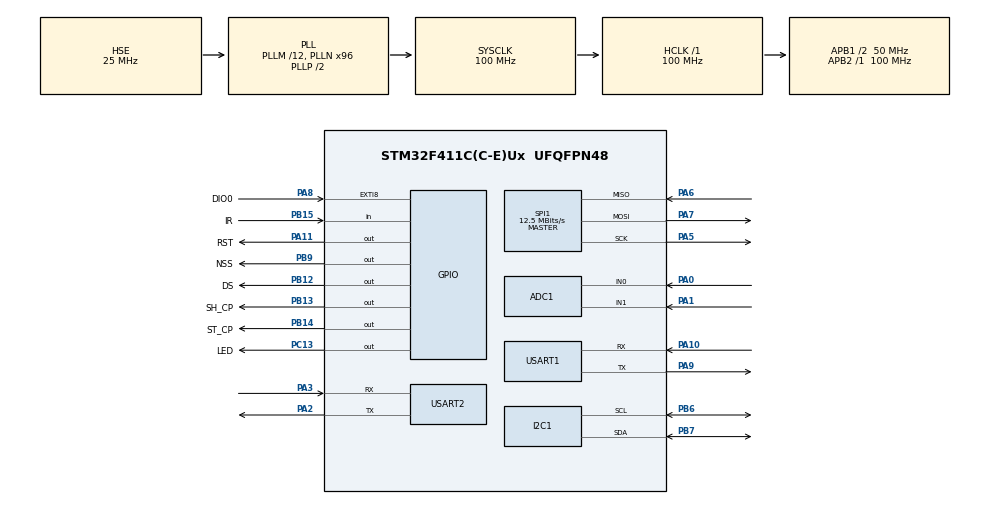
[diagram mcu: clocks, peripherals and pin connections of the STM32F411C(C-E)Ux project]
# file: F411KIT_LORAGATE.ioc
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ADC1.Channel-0\#ChannelRegularConversion=ADC_CHANNEL_0
ADC1.Channel-1\#ChannelRegularConversion=ADC_CHANNEL_0
ADC1.ContinuousConvMode=ENABLE
ADC1.DMAContinuousRequests=ENABLE
ADC1.NbrOfConversion=2
ADC1.NbrOfConversionFlag=1
ADC1.Rank-0\#ChannelRegularConversion=1
ADC1.Rank-1\#ChannelRegularConversion=2
ADC1.SamplingTime-0\#ChannelRegularConversion=ADC_SAMPLETIME_144CYCLES
ADC1.SamplingTime-1\#ChannelRegularConversion=ADC_SAMPLETIME_144CYCLES
ADC1.ScanConvMode=ENABLE
ADC1.master=1
Dma.ADC1.0.Direction=DMA_PERIPH_TO_MEMORY
Dma.ADC1.0.FIFOMode=DMA_FIFOMODE_DISABLE
Dma.ADC1.0.Instance=DMA2_Stream0
Dma.ADC1.0.MemDataAlignment=DMA_MDATAALIGN_HALFWORD
Dma.ADC1.0.MemInc=DMA_MINC_ENABLE
Dma.ADC1.0.Mode=DMA_CIRCULAR
Dma.ADC1.0.PeriphDataAlignment=DMA_PDATAALIGN_HALFWORD
Dma.ADC1.0.PeriphInc=DMA_PINC_DISABLE
Dma.ADC1.0.Priority=DMA_PRIORITY_LOW
Dma.Request0=ADC1
Dma.Request1=USART1_TX
Dma.Request2=USART2_TX
Dma.USART1_TX.1.Direction=DMA_MEMORY_TO_PERIPH
Dma.USART1_TX.1.FIFOMode=DMA_FIFOMODE_DISABLE
Dma.USART1_TX.1.Instance=DMA2_Stream7
Dma.USART1_TX.1.MemDataAlignment=DMA_MDATAALIGN_BYTE
Dma.USART1_TX.1.MemInc=DMA_MINC_ENABLE
Dma.USART1_TX.1.Mode=DMA_NORMAL
Dma.USART1_TX.1.PeriphDataAlignment=DMA_PDATAALIGN_BYTE
Dma.USART1_TX.1.PeriphInc=DMA_PINC_DISABLE
Dma.USART1_TX.1.Priority=DMA_PRIORITY_LOW
Dma.USART2_TX.2.Direction=DMA_MEMORY_TO_PERIPH
Dma.USART2_TX.2.FIFOMode=DMA_FIFOMODE_DISABLE
Dma.USART2_TX.2.Instance=DMA1_Stream6
Dma.USART2_TX.2.MemDataAlignment=DMA_MDATAALIGN_BYTE
Dma.USART2_TX.2.MemInc=DMA_MINC_ENABLE
Dma.USART2_TX.2.Mode=DMA_NORMAL
Dma.USART2_TX.2.PeriphDataAlignment=DMA_PDATAALIGN_BYTE
Dma.USART2_TX.2.PeriphInc=DMA_PINC_DISABLE
Dma.USART2_TX.2.Priority=DMA_PRIORITY_LOW
FREERTOS.Tasks01=defaultTask,0,128,StartDefaultTask,Default,NULL,Dynamic,NULL,NULL
Mcu.Family=STM32F4
Mcu.Name=STM32F411C(C-E)Ux
Mcu.Package=UFQFPN48
NVIC.DMA1_Stream6_IRQn=true\:5\:0\:false\:false\:true\:true\:false\:true\:true
NVIC.DMA2_Stream0_IRQn=true\:5\:0\:false\:false\:true\:true\:false\:true\:true
NVIC.DMA2_Stream7_IRQn=true\:5\:0\:false\:false\:true\:true\:false\:true\:true
NVIC.EXTI9_5_IRQn=true\:5\:0\:false\:false\:true\:false\:true\:true\:true
NVIC.PriorityGroup=NVIC_PRIORITYGROUP_4
NVIC.TIM1_UP_TIM10_IRQn=true\:5\:0\:false\:false\:true\:true\:true\:true\:true
NVIC.TIM2_IRQn=true\:15\:0\:false\:false\:true\:false\:false\:true\:true
NVIC.TimeBase=TIM2_IRQn
NVIC.TimeBaseIP=TIM2
NVIC.USART1_IRQn=true\:5\:0\:false\:false\:true\:true\:true\:true\:true
NVIC.USART2_IRQn=true\:5\:0\:false\:false\:true\:true\:true\:true\:true
PA0-WKUP.Signal=ADCx_IN0
PA1.Signal=ADCx_IN1
PA10.Mode=Asynchronous
PA10.Signal=USART1_RX
PA11.GPIO_Label=RST
PA11.GPIO_PuPd=GPIO_NOPULL
PA11.PinState=GPIO_PIN_SET
PA11.Signal=GPIO_Output
PA13.Mode=Serial_Wire
PA13.Signal=SYS_JTMS-SWDIO
PA14.Mode=Serial_Wire
PA14.Signal=SYS_JTCK-SWCLK
PA2.Mode=Asynchronous
PA2.Signal=USART2_TX
PA3.Mode=Asynchronous
PA3.Signal=USART2_RX
PA5.Mode=Full_Duplex_Master
PA5.Signal=SPI1_SCK
PA6.Mode=Full_Duplex_Master
PA6.Signal=SPI1_MISO
PA7.Mode=Full_Duplex_Master
PA7.Signal=SPI1_MOSI
PA8.GPIO_Label=DIO0
PA8.Signal=GPXTI8
PA9.Mode=Asynchronous
PA9.Signal=USART1_TX
PB12.GPIO_Label=DS
PB12.Signal=GPIO_Output
PB13.GPIO_Label=SH_CP
PB13.Signal=GPIO_Output
PB14.GPIO_Label=ST_CP
PB14.Signal=GPIO_Output
PB15.GPIO_Label=IR
PB15.Signal=GPIO_Input
PB6.Mode=I2C
PB6.Signal=I2C1_SCL
PB7.Mode=I2C
PB7.Signal=I2C1_SDA
PB9.GPIO_Label=NSS
PB9.PinState=GPIO_PIN_SET
PB9.Signal=GPIO_Output
PC13-ANTI_TAMP.GPIO_Label=LED
PC13-ANTI_TAMP.Signal=GPIO_Output
PH0\ -\ OSC_IN.Mode=HSE-External-Oscillator
PH0\ -\ OSC_IN.Signal=RCC_OSC_IN
PH1\ -\ OSC_OUT.Mode=HSE-External-Oscillator
PH1\ -\ OSC_OUT.Signal=RCC_OSC_OUT
ProjectManager.HeapSize=0x200
ProjectManager.StackSize=0x400
ProjectManager.TargetToolchain=MDK-ARM V5.32
RCC.48MHZClocksFreq_Value=50000000
RCC.AHBFreq_Value=100000000
RCC.APB1CLKDivider=RCC_HCLK_DIV2
RCC.APB1Freq_Value=50000000
RCC.APB1TimFreq_Value=100000000
RCC.APB2Freq_Value=100000000
RCC.APB2TimFreq_Value=100000000
RCC.CortexFreq_Value=100000000
RCC.HCLKFreq_Value=100000000
RCC.HSE_VALUE=25000000
RCC.HSI_VALUE=16000000
RCC.LSE_VALUE=32768
RCC.PLLM=12
RCC.PLLN=96
RCC.PLLSourceVirtual=RCC_PLLSOURCE_HSE
RCC.SYSCLKFreq_VALUE=100000000
RCC.SYSCLKSource=RCC_SYSCLKSOURCE_PLLCLK
RCC.VCOOutputFreq_Value=200000000
SH.ADCx_IN0.0=ADC1_IN0,IN0
SH.ADCx_IN1.0=ADC1_IN1,IN1
SPI1.BaudRatePrescaler=SPI_BAUDRATEPRESCALER_8
SPI1.CalculateBaudRate=12.5 MBits/s
SPI1.Direction=SPI_DIRECTION_2LINES
SPI1.Mode=SPI_MODE_MASTER
SPI1.VirtualType=VM_MASTER
TIM1.AutoReloadPreload=TIM_AUTORELOAD_PRELOAD_ENABLE
TIM1.Period=999
TIM1.Prescaler=9999
USART1.VirtualMode=VM_ASYNC
USART2.VirtualMode=VM_ASYNC
VP_FREERTOS_VS_CMSIS_V1.Mode=CMSIS_V1
VP_RTC_VS_RTC_Activate.Mode=RTC_Enabled
VP_RTC_VS_RTC_Calendar.Mode=RTC_Calendar
VP_SYS_VS_tim2.Mode=TIM2
VP_TIM1_VS_ClockSourceINT.Mode=Internal
board=custom

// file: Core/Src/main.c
/* USER CODE BEGIN Header */
/**
  ******************************************************************************
  * @file           : main.c
  * @brief          : Main program body
  ******************************************************************************
  * @attention
  *
  * Copyright (c) 2025 STMicroelectronics.
  * All rights reserved.
  *
  * This software is licensed under terms that can be found in the LICENSE file
  * in the root directory of this software component.
  * If no LICENSE file comes with this software, it is provided AS-IS.
  *
  ******************************************************************************
  */
/* USER CODE END Header */
#include "main.h"
#include "cmsis_os.h"

/* USER CODE BEGIN Includes */

uint8_t lora_flag=0;

/* USER CODE END Includes */

ADC_HandleTypeDef hadc1;
DMA_HandleTypeDef hdma_adc1;

I2C_HandleTypeDef hi2c1;

RTC_HandleTypeDef hrtc;

SPI_HandleTypeDef hspi1;

TIM_HandleTypeDef htim1;

UART_HandleTypeDef huart1;
UART_HandleTypeDef huart2;
DMA_HandleTypeDef hdma_usart1_tx;
DMA_HandleTypeDef hdma_usart2_tx;

osThreadId defaultTaskHandle;

void SystemClock_Config(void);
static void MX_GPIO_Init(void);
static void MX_DMA_Init(void);
static void MX_ADC1_Init(void);
static void MX_SPI1_Init(void);
static void MX_USART1_UART_Init(void);
static void MX_I2C1_Init(void);
static void MX_RTC_Init(void);
static void MX_TIM1_Init(void);
static void MX_USART2_UART_Init(void);
void StartDefaultTask(void const * argument);

/* USER CODE BEGIN 0 */

RTC_TimeTypeDef sTime;
RTC_DateTypeDef sDate;
SemaphoreHandle_t lora_semaphore=NULL;

/* USER CODE END 0 */

int main(void)
{
  /* USER CODE BEGIN 1 */

	SCB->CPACR|=(0XF<<20);
	__DSB();
	__ISB();
	lora_semaphore=xSemaphoreCreateBinary();
	uart2Queue = xQueueCreate(10, sizeof(relay_cmd_t));
	relayQueue = xQueueCreate(10, sizeof(relay_cmd_t));

  /* USER CODE END 1 */

  /* MCU Configuration--------------------------------------------------------*/

  /* Reset of all peripherals, Initializes the Flash interface and the Systick. */
  HAL_Init();

  /* Configure the system clock */
  SystemClock_Config();

  /* Initialize all configured peripherals */
  MX_GPIO_Init();
  MX_DMA_Init();
  MX_ADC1_Init();
  MX_SPI1_Init();
  MX_USART1_UART_Init();
  MX_I2C1_Init();
  MX_RTC_Init();
  MX_TIM1_Init();
  MX_USART2_UART_Init();
	HAL_UART_Receive_IT(&huart2, &uart2_rx_byte, 1);

  /* USER CODE BEGIN 2 */
	xTaskCreate(TaskMaster,"TaskMaster",512,NULL,1,NULL);
	//xTaskCreate(TaskReceiveLora,"TaskReceiveLora",256,NULL,1,NULL);
	xTaskCreate(TaskHienThi,"TaskHienThi",128,NULL,1,NULL);
	xTaskCreate(TaskHieuUngLed,"TaskHieuUngLed",128,NULL,1,NULL);
	xTaskCreate(TaskRelay,"TaskRelay",128,NULL,1,NULL);
	//xTaskCreate(TaskSendLora,"TaskSendLora",256,NULL,1,NULL	);
	xTaskCreate(TaskData,"TaskData",512,NULL,1,NULL);
	//xTaskCreate(TaskControlRelay,"TaskControlRelay",256,NULL,1,NULL);
	 xTaskCreate(TaskRelayUART, "RelayUARTTask", 256, NULL, 1, NULL);
	vTaskStartScheduler();

  /* USER CODE END 2 */

  /* Create the thread(s) */
  /* definition and creation of defaultTask */
  osThreadDef(defaultTask, StartDefaultTask, osPriorityNormal, 0, 128);
  defaultTaskHandle = osThreadCreate(osThread(defaultTask), NULL);

  /* Start scheduler */
  osKernelStart();

  /* We should never get here as control is now taken by the scheduler */
  /* Infinite loop */
  while (1)
  {

  }
}

void SystemClock_Config(void)
{
  RCC_OscInitTypeDef RCC_OscInitStruct = {0};
  RCC_ClkInitTypeDef RCC_ClkInitStruct = {0};

  /** Configure the main internal regulator output voltage
  */
  __HAL_RCC_PWR_CLK_ENABLE();
  __HAL_PWR_VOLTAGESCALING_CONFIG(PWR_REGULATOR_VOLTAGE_SCALE1);

  /** Initializes the RCC Oscillators according to the specified parameters
  * in the RCC_OscInitTypeDef structure.
  */
  RCC_OscInitStruct.OscillatorType = RCC_OSCILLATORTYPE_LSI|RCC_OSCILLATORTYPE_HSE;
  RCC_OscInitStruct.HSEState = RCC_HSE_ON;
  RCC_OscInitStruct.LSIState = RCC_LSI_ON;
  RCC_OscInitStruct.PLL.PLLState = RCC_PLL_ON;
  RCC_OscInitStruct.PLL.PLLSource = RCC_PLLSOURCE_HSE;
  RCC_OscInitStruct.PLL.PLLM = 12;
  RCC_OscInitStruct.PLL.PLLN = 96;
  RCC_OscInitStruct.PLL.PLLP = RCC_PLLP_DIV2;
  RCC_OscInitStruct.PLL.PLLQ = 4;
  if (HAL_RCC_OscConfig(&RCC_OscInitStruct) != HAL_OK)
  {
    Error_Handler();
  }

  /** Initializes the CPU, AHB and APB buses clocks
  */
  RCC_ClkInitStruct.ClockType = RCC_CLOCKTYPE_HCLK|RCC_CLOCKTYPE_SYSCLK
                              |RCC_CLOCKTYPE_PCLK1|RCC_CLOCKTYPE_PCLK2;
  RCC_ClkInitStruct.SYSCLKSource = RCC_SYSCLKSOURCE_PLLCLK;
  RCC_ClkInitStruct.AHBCLKDivider = RCC_SYSCLK_DIV1;
  RCC_ClkInitStruct.APB1CLKDivider = RCC_HCLK_DIV2;
  RCC_ClkInitStruct.APB2CLKDivider = RCC_HCLK_DIV1;

  if (HAL_RCC_ClockConfig(&RCC_ClkInitStruct, FLASH_LATENCY_3) != HAL_OK)
  {
    Error_Handler();
  }
}

static void MX_ADC1_Init(void)
{

  ADC_ChannelConfTypeDef sConfig = {0};

  /** Configure the global features of the ADC (Clock, Resolution, Data Alignment and number of conversion)
  */
  hadc1.Instance = ADC1;
  hadc1.Init.ClockPrescaler = ADC_CLOCK_SYNC_PCLK_DIV4;
  hadc1.Init.Resolution = ADC_RESOLUTION_12B;
  hadc1.Init.ScanConvMode = ENABLE;
  hadc1.Init.ContinuousConvMode = ENABLE;
  hadc1.Init.DiscontinuousConvMode = DISABLE;
  hadc1.Init.ExternalTrigConvEdge = ADC_EXTERNALTRIGCONVEDGE_NONE;
  hadc1.Init.ExternalTrigConv = ADC_SOFTWARE_START;
  hadc1.Init.DataAlign = ADC_DATAALIGN_RIGHT;
  hadc1.Init.NbrOfConversion = 2;
  hadc1.Init.DMAContinuousRequests = ENABLE;
  hadc1.Init.EOCSelection = ADC_EOC_SINGLE_CONV;
  if (HAL_ADC_Init(&hadc1) != HAL_OK)
  {
    Error_Handler();
  }

  /** Configure for the selected ADC regular channel its corresponding rank in the sequencer and its sample time.
  */
  sConfig.Channel = ADC_CHANNEL_0;
  sConfig.Rank = 1;
  sConfig.SamplingTime = ADC_SAMPLETIME_144CYCLES;
  if (HAL_ADC_ConfigChannel(&hadc1, &sConfig) != HAL_OK)
  {
    Error_Handler();
  }

  /** Configure for the selected ADC regular channel its corresponding rank in the sequencer and its sample time.
  */
  sConfig.Rank = 2;
  if (HAL_ADC_ConfigChannel(&hadc1, &sConfig) != HAL_OK)
  {
    Error_Handler();
  }

}

static void MX_I2C1_Init(void)
{

  hi2c1.Instance = I2C1;
  hi2c1.Init.ClockSpeed = 100000;
  hi2c1.Init.DutyCycle = I2C_DUTYCYCLE_2;
  hi2c1.Init.OwnAddress1 = 0;
  hi2c1.Init.AddressingMode = I2C_ADDRESSINGMODE_7BIT;
  hi2c1.Init.DualAddressMode = I2C_DUALADDRESS_DISABLE;
  hi2c1.Init.OwnAddress2 = 0;
  hi2c1.Init.GeneralCallMode = I2C_GENERALCALL_DISABLE;
  hi2c1.Init.NoStretchMode = I2C_NOSTRETCH_DISABLE;
  if (HAL_I2C_Init(&hi2c1) != HAL_OK)
  {
    Error_Handler();
  }

}

static void MX_RTC_Init(void)
{

  RTC_TimeTypeDef sTime = {0};
  RTC_DateTypeDef sDate = {0};

  /** Initialize RTC Only
  */
  hrtc.Instance = RTC;
  hrtc.Init.HourFormat = RTC_HOURFORMAT_24;
  hrtc.Init.AsynchPrediv = 127;
  hrtc.Init.SynchPrediv = 255;
  hrtc.Init.OutPut = RTC_OUTPUT_DISABLE;
  hrtc.Init.OutPutPolarity = RTC_OUTPUT_POLARITY_HIGH;
  hrtc.Init.OutPutType = RTC_OUTPUT_TYPE_OPENDRAIN;
  if (HAL_RTC_Init(&hrtc) != HAL_OK)
  {
    Error_Handler();
  }

  /** Initialize RTC and set the Time and Date
  */
  sTime.Hours = 0x0;
  sTime.Minutes = 0x0;
  sTime.Seconds = 0x0;
  sTime.DayLightSaving = RTC_DAYLIGHTSAVING_NONE;
  sTime.StoreOperation = RTC_STOREOPERATION_RESET;
  if (HAL_RTC_SetTime(&hrtc, &sTime, RTC_FORMAT_BCD) != HAL_OK)
  {
    Error_Handler();
  }
  sDate.WeekDay = RTC_WEEKDAY_MONDAY;
  sDate.Month = RTC_MONTH_JANUARY;
  sDate.Date = 0x1;
  sDate.Year = 0x0;

  if (HAL_RTC_SetDate(&hrtc, &sDate, RTC_FORMAT_BCD) != HAL_OK)
  {
    Error_Handler();
  }

}

static void MX_SPI1_Init(void)
{

  /* SPI1 parameter configuration*/
  hspi1.Instance = SPI1;
  hspi1.Init.Mode = SPI_MODE_MASTER;
  hspi1.Init.Direction = SPI_DIRECTION_2LINES;
  hspi1.Init.DataSize = SPI_DATASIZE_8BIT;
  hspi1.Init.CLKPolarity = SPI_POLARITY_LOW;
  hspi1.Init.CLKPhase = SPI_PHASE_1EDGE;
  hspi1.Init.NSS = SPI_NSS_SOFT;
  hspi1.Init.BaudRatePrescaler = SPI_BAUDRATEPRESCALER_8;
  hspi1.Init.FirstBit = SPI_FIRSTBIT_MSB;
  hspi1.Init.TIMode = SPI_TIMODE_DISABLE;
  hspi1.Init.CRCCalculation = SPI_CRCCALCULATION_DISABLE;
  hspi1.Init.CRCPolynomial = 10;
  if (HAL_SPI_Init(&hspi1) != HAL_OK)
  {
    Error_Handler();
  }

}

static void MX_TIM1_Init(void)
{

  TIM_ClockConfigTypeDef sClockSourceConfig = {0};
  TIM_MasterConfigTypeDef sMasterConfig = {0};

  htim1.Instance = TIM1;
  htim1.Init.Prescaler = 9999;
  htim1.Init.CounterMode = TIM_COUNTERMODE_UP;
  htim1.Init.Period = 999;
  htim1.Init.ClockDivision = TIM_CLOCKDIVISION_DIV1;
  htim1.Init.RepetitionCounter = 0;
  htim1.Init.AutoReloadPreload = TIM_AUTORELOAD_PRELOAD_ENABLE;
  if (HAL_TIM_Base_Init(&htim1) != HAL_OK)
  {
    Error_Handler();
  }
  sClockSourceConfig.ClockSource = TIM_CLOCKSOURCE_INTERNAL;
  if (HAL_TIM_ConfigClockSource(&htim1, &sClockSourceConfig) != HAL_OK)
  {
    Error_Handler();
  }
  sMasterConfig.MasterOutputTrigger = TIM_TRGO_RESET;
  sMasterConfig.MasterSlaveMode = TIM_MASTERSLAVEMODE_DISABLE;
  if (HAL_TIMEx_MasterConfigSynchronization(&htim1, &sMasterConfig) != HAL_OK)
  {
    Error_Handler();
  }

}

static void MX_USART1_UART_Init(void)
{

  huart1.Instance = USART1;
  huart1.Init.BaudRate = 115200;
  huart1.Init.WordLength = UART_WORDLENGTH_8B;
  huart1.Init.StopBits = UART_STOPBITS_1;
  huart1.Init.Parity = UART_PARITY_NONE;
  huart1.Init.Mode = UART_MODE_TX_RX;
  huart1.Init.HwFlowCtl = UART_HWCONTROL_NONE;
  huart1.Init.OverSampling = UART_OVERSAMPLING_16;
  if (HAL_UART_Init(&huart1) != HAL_OK)
  {
    Error_Handler();
  }

}

static void MX_USART2_UART_Init(void)
{

  huart2.Instance = USART2;
  huart2.Init.BaudRate = 115200;
  huart2.Init.WordLength = UART_WORDLENGTH_8B;
  huart2.Init.StopBits = UART_STOPBITS_1;
  huart2.Init.Parity = UART_PARITY_NONE;
  huart2.Init.Mode = UART_MODE_TX_RX;
  huart2.Init.HwFlowCtl = UART_HWCONTROL_NONE;
  huart2.Init.OverSampling = UART_OVERSAMPLING_16;
  if (HAL_UART_Init(&huart2) != HAL_OK)
  {
    Error_Handler();
  }

}

static void MX_DMA_Init(void)
{

  /* DMA controller clock enable */
  __HAL_RCC_DMA2_CLK_ENABLE();
  __HAL_RCC_DMA1_CLK_ENABLE();

  /* DMA interrupt init */
  /* DMA1_Stream6_IRQn interrupt configuration */
  HAL_NVIC_SetPriority(DMA1_Stream6_IRQn, 5, 0);
  HAL_NVIC_EnableIRQ(DMA1_Stream6_IRQn);
  /* DMA2_Stream0_IRQn interrupt configuration */
  HAL_NVIC_SetPriority(DMA2_Stream0_IRQn, 5, 0);
  HAL_NVIC_EnableIRQ(DMA2_Stream0_IRQn);
  /* DMA2_Stream7_IRQn interrupt configuration */
  HAL_NVIC_SetPriority(DMA2_Stream7_IRQn, 5, 0);
  HAL_NVIC_EnableIRQ(DMA2_Stream7_IRQn);

}

static void MX_GPIO_Init(void)
{
  GPIO_InitTypeDef GPIO_InitStruct = {0};

  /* GPIO Ports Clock Enable */
  __HAL_RCC_GPIOC_CLK_ENABLE();
  __HAL_RCC_GPIOH_CLK_ENABLE();
  __HAL_RCC_GPIOA_CLK_ENABLE();
  __HAL_RCC_GPIOB_CLK_ENABLE();

  /*Configure GPIO pin Output Level */
  HAL_GPIO_WritePin(LED_GPIO_Port, LED_Pin, GPIO_PIN_RESET);

  /*Configure GPIO pin Output Level */
  HAL_GPIO_WritePin(GPIOB, DS_Pin|SH_CP_Pin|ST_CP_Pin, GPIO_PIN_RESET);

  /*Configure GPIO pin Output Level */
  HAL_GPIO_WritePin(RST_GPIO_Port, RST_Pin, GPIO_PIN_SET);

  /*Configure GPIO pin Output Level */
  HAL_GPIO_WritePin(NSS_GPIO_Port, NSS_Pin, GPIO_PIN_SET);

  /*Configure GPIO pin : LED_Pin */
  GPIO_InitStruct.Pin = LED_Pin;
  GPIO_InitStruct.Mode = GPIO_MODE_OUTPUT_PP;
  GPIO_InitStruct.Pull = GPIO_NOPULL;
  GPIO_InitStruct.Speed = GPIO_SPEED_FREQ_LOW;
  HAL_GPIO_Init(LED_GPIO_Port, &GPIO_InitStruct);

  /*Configure GPIO pins : DS_Pin SH_CP_Pin ST_CP_Pin NSS_Pin */
  GPIO_InitStruct.Pin = DS_Pin|SH_CP_Pin|ST_CP_Pin|NSS_Pin;
  GPIO_InitStruct.Mode = GPIO_MODE_OUTPUT_PP;
  GPIO_InitStruct.Pull = GPIO_NOPULL;
  GPIO_InitStruct.Speed = GPIO_SPEED_FREQ_LOW;
  HAL_GPIO_Init(GPIOB, &GPIO_InitStruct);

  /*Configure GPIO pin : IR_Pin */
  GPIO_InitStruct.Pin = IR_Pin;
  GPIO_InitStruct.Mode = GPIO_MODE_INPUT;
  GPIO_InitStruct.Pull = GPIO_NOPULL;
  HAL_GPIO_Init(IR_GPIO_Port, &GPIO_InitStruct);

  /*Configure GPIO pin : DIO0_Pin */
  GPIO_InitStruct.Pin = DIO0_Pin;
  GPIO_InitStruct.Mode = GPIO_MODE_IT_RISING;
  GPIO_InitStruct.Pull = GPIO_NOPULL;
  HAL_GPIO_Init(DIO0_GPIO_Port, &GPIO_InitStruct);

  /*Configure GPIO pin : RST_Pin */
  GPIO_InitStruct.Pin = RST_Pin;
  GPIO_InitStruct.Mode = GPIO_MODE_OUTPUT_PP;
  GPIO_InitStruct.Pull = GPIO_NOPULL;
  GPIO_InitStruct.Speed = GPIO_SPEED_FREQ_LOW;
  HAL_GPIO_Init(RST_GPIO_Port, &GPIO_InitStruct);

  /* EXTI interrupt init*/
  HAL_NVIC_SetPriority(EXTI9_5_IRQn, 5, 0);
  HAL_NVIC_EnableIRQ(EXTI9_5_IRQn);

}

/* USER CODE BEGIN 4 */

void HAL_GPIO_EXTI_Callback(uint16_t GPIO_Pin)
{
    if (GPIO_Pin == DIO0_Pin)
    {
      //  GPIOC->ODR ^= LED_Pin; // blink LED
        lora_flag = 1;         // ch? dАnh d?u s? ki?n
    }
}

/* USER CODE END 4 */

void StartDefaultTask(void const * argument)
{
  for(;;)
  {
    osDelay(1);
  }
}

void HAL_TIM_PeriodElapsedCallback(TIM_HandleTypeDef *htim)
{
  if (htim->Instance == TIM2) {
    HAL_IncTick();
  }
}

void Error_Handler(void)
{
  __disable_irq();
  while (1)
  {
  }
}
